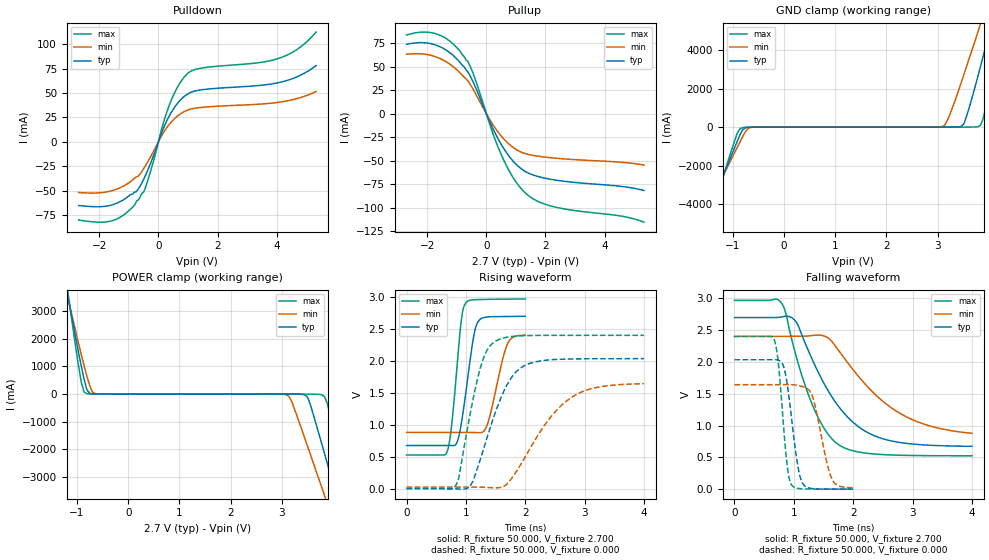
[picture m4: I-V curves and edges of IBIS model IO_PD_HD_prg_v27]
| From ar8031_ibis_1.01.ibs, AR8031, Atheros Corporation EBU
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[Model]   IO_PD_HD_prg_v27
Model_type   I/O
Vinl = 400.000mV
Vinh = 1.200V
Vmeas = 0.800V
Cref = 0.000F
|   typ   min   max
C_comp   2.610pF   2.580pF   2.640pF
[Voltage Range]   2.700V   2.430V   2.970V
[Temperature Range]   60.0   120.0   0.0
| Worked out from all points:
|   slope of the pulldown table from 0 to 0.405 V, typ, clamps not added: 14.2 ohm
|   slope of the pullup table from 0 to 0.405 V, typ, clamps not added: 14.9 ohm
|   GND clamp passes 1 mA (typ) near -0.58 V on its own axis
|   falling waveform, R_fixture 50.000, V_fixture 2.700: 20-80 % time 773ps typ, 986ps min, 541ps max; typ from 2.7 V to 0.674 V
|   rising waveform, R_fixture 50.000, V_fixture 2.700: 20-80 % time 182ps typ, 223ps min, 142ps max; typ from 0.674 V to 2.7 V
|   rising waveform, R_fixture 50.000, V_fixture 0.000: 20-80 % time 470ps typ, 725ps min, 315ps max; typ from 0 V to 2.04 V
|   falling waveform, R_fixture 50.000, V_fixture 0.000: 20-80 % time 168ps typ, 219ps min, 130ps max; typ from 2.04 V to 0 V
[Pulldown]
|  Voltage   I(typ)   I(min)   I(max)
-2.7V     -65.37mA   -51.99mA   -80.2mA
-1.663V   -65.53mA   -50.92mA   -81.76mA
-820.8mV  -51.77mA   -37.79mA   NA
-432mV    -34.11mA   -24.24mA   -46.27mA
151.2mV   12.43mA    8.397mA    17.59mA
410.4mV   28.86mA    19.43mA    40.88mA
669.6mV   40.35mA    26.99mA    57.37mA
993.6mV   49.14mA    32.54mA    70.22mA
1.447V    53.29mA    35.26mA    75.58mA
4.039V    60.51mA    40.42mA    85.29mA
4.687V    66.62mA    44.3mA     94.67mA
5.335V    78.23mA    51.57mA    112.6mA
[GND Clamp]
|   Voltage   I(typ)   I(min)   I(max)
-2.7V     -12.55A    -10.75A    -15.32A
-1.728V   -6.076A    -5.439A    -7.075A
-1.512V   -4.644A    -4.264A    -5.251A
-918mV    -760mA     -1.066A    -330.6mA
-810mV    -140mA     -505mA     -24.3mA
-594mV    -1.2mA     -4.42mA    -2.24mA
3.132V    334uA      86.5mA     29.7uA
3.51V     166.7mA    2.702A     2.25mA
3.834V    3.117A     5.331A     80.4mA
4.05V     5.316A     7.11A      2.395A
4.266V    7.547A     8.898A     5.276A
5.4V      19.4A      18.35A     20.93A
[Pullup]
|  Voltage   I(typ)   I(min)   I(max)
-2.7V     73.97mA    63.27mA    83.85mA
-2.182V   75.7mA     63.74mA    86.9mA
-1.663V   72.58mA    60.06mA    84.68mA
-1.274V   65.9mA     53.62mA    78.21mA
-885.6mV  54.44mA    43.4mA     66.51mA
-496.8mV  37.17mA    28.73mA    46.8mA
216mV     -15.49mA   -11.37mA   -20.48mA
604.8mV   -37.85mA   -27.35mA   -50.5mA
993.6mV   -53.42mA   -37.79mA   -72.22mA
1.447V    -63.62mA   -43.55mA   -87.85mA
2.354V    -70.75mA   -47.41mA   -99.6mA
5.335V    -81.82mA   -54.68mA   -115.5mA
[POWER Clamp]
|   Voltage   I(typ)   I(min)   I(max)
-2.7V     19.4A      16.09A     24.69A
-1.188V   3.662A     3.569A     3.821A
-918mV    1.026A     1.439A     437.5mA
-810mV    174.7mA    666.9mA    17.5mA
-594mV    2.33mA     5mA        3.43mA
3.132V    -83.5uA    -67.7mA    -4.63uA
3.51V     -135.5mA   -1.928A    -1.3mA
3.78V     -1.802A    -3.384A    -24.7mA
3.888V    -2.507A    -3.97A     -335mA
4.05V     -3.573A    -4.851A    -1.636A
4.32V     -5.36A     -6.323A    -3.887A
5.4V      -12.55A    -12.23A    -13.03A
[Ramp]
R_load = 50.00Ohm
|   typ   min   max
dV/dt_r   944.832mV/75.563ps  701.071mV/113.711ps   1.175V/51.451ps
dV/dt_f   968.544mV/89.712ps  673.569mV/131.026ps   1.238V/61.785ps
[Falling Waveform]
R_fixture = 50.000
V_fixture = 2.700
V_fixture_min = 2.430
V_fixture_max = 2.970
|  time   V(typ)   V(min)   V(max)
0s        2.699V     2.404V     2.969V
800ps     2.709V     2.404V     2.919V
1.04ns    2.629V     2.405V     2.088V
1.28ns    2.104V     2.413V     1.402V
1.56ns    1.577V     2.389V     885.6mV
1.76ns    1.294V     2.174V     696.1mV
2.2ns     913.6mV    1.654V     568.2mV
2.72ns    744.3mV    1.232V     535.4mV
3.28ns    691.5mV    997.8mV    527.2mV
4ns       674mV      878.9mV    525mV
[Rising Waveform]
R_fixture = 50.000
V_fixture = 2.700
V_fixture_min = 2.430
V_fixture_max = 2.970
|  time   V(typ)   V(min)   V(max)
0s        674mV      878.9mV    525mV
680ps     674.6mV    878.9mV    567.8mV
760ps     674.2mV    879.3mV    995.5mV
860ps     748.2mV    879.8mV    2.024V
940ps     1.12V      880.1mV    2.753V
1ns       1.515V     879.8mV    2.912V
1.22ns    2.634V     875.6mV    2.961V
1.38ns    2.689V     1.057V     2.964V
1.7ns     2.696V     2.267V     2.968V
2ns       2.699V     2.404V     2.969V
[Rising Waveform]
R_fixture = 50.000
V_fixture = 0.000
V_fixture_min = 0.000
V_fixture_max = 0.000
|  time   V(typ)   V(min)   V(max)
0s        83.91uV    21.99mV    -41.08uV
840ps     -4.191mV   21.97mV    64.54mV
1.08ns    50.19mV    22.05mV    1.21V
1.24ns    450.3mV    21.95mV    1.88V
1.48ns    1.152V     12.02mV    2.298V
1.76ns    1.73V      146.2mV    2.381V
2.04ns    1.948V     562.2mV    2.397V
2.44ns    2.018V     1.133V     2.4V
2.84ns    2.031V     1.463V     2.401V
4ns       2.035V     1.643V     2.401V
[Falling Waveform]
R_fixture = 50.000
V_fixture = 0.000
V_fixture_min = 0.000
V_fixture_max = 0.000
|  time   V(typ)   V(min)   V(max)
0s        2.035V     1.643V     2.401V
680ps     2.036V     1.643V     2.326V
740ps     2.028V     1.643V     1.973V
840ps     1.892V     1.645V     840.6mV
960ps     1.129V     1.643V     69.54mV
1.08ns    301.4mV    1.629V     10.79mV
1.16ns    74.95mV    1.61V      4.605mV
1.32ns    9.013mV    1.441V     1.673mV
1.64ns    1.032mV    164.7mV    507.1uV
2ns       83.91uV    21.99mV    -41.08uV
